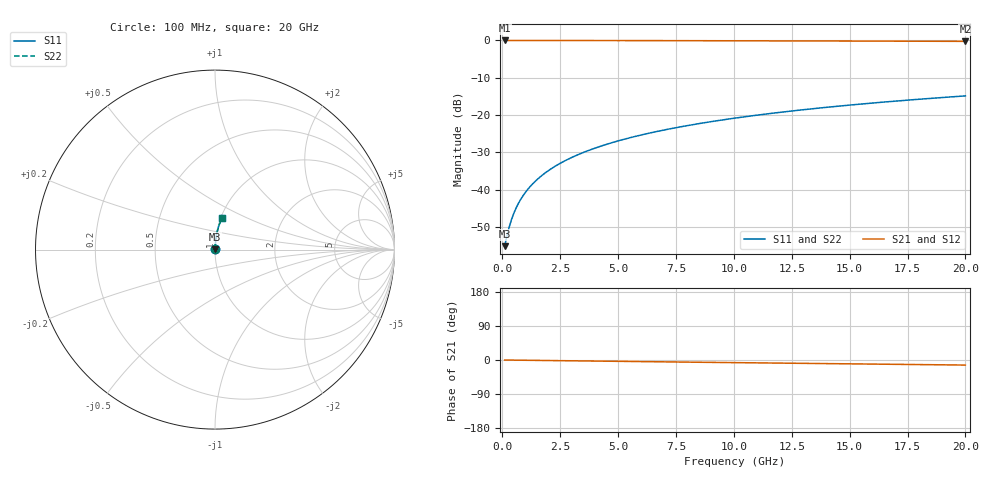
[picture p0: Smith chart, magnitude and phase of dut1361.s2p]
! Touchstone file exported from HFSS 2024.1.0
!  File:  C:/UserFiles/LocalFiles/RDL_TSV_Batchsim/temp_RDL_top_1361_1780366583.aedt
!  Generated:  10:18:41 AM Jun  2, 2026
!  Design:  RDL_top
!  Project:  temp_RDL_top_1361_1780366583
!  Setup:  Setup1
!  Solution:  Sweep
! Variables:
!  dtsv = 10.80580581um
!  hbump = 3um
!  htsv = 92.89um
!  ldown = 100um
!  lrdl = 134.94um
!  p = 40
!  p1 = 43.79um
!  rhole = 1um
!  t = 450um
!  tdown = 3.915915916um
!  trdl = 3.26um
!  wdown = 15.38538539um
!  wrdl = 11.29um
# GHz S MA R 50.000000
! Terminal data exported
! Port[1] = Box2_T1
! Port[2] = Box2_T2
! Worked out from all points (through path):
!   200 points, 100 MHz to 20 GHz, reference 50 ohm
!   highest |S21| = -0.01 dB at 100 MHz (marker M1); lowest = -0.3 dB at 20 GHz (marker M2)
!   group delay of S21, straight-line fit = 1.85 ps
!   lowest |S11| = -55.2 dB at 100 MHz (marker M3), VSWR 1.00, Z = 50.1 + j0.0927 ohm
!   |S11| at or under -10 dB: start of sweep to end of sweep
!   |S22| runs from -55.2 to -14.9 dB; largest |S21 - S12| = 3.4e-15
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0.1  0.001738 32.1  0.9985 -0.1  0.9985 -0.1  0.001738 32.1
! Gamma 0 0 0 0
! Port Impedance 50 0 50 0
0.2  0.00237 51.1  0.9985 -0.1  0.9985 -0.1  0.00237 51.1
0.3  0.003143 61.2  0.9985 -0.2  0.9985 -0.2  0.003143 61.2
0.4  0.00397 67.2  0.9985 -0.3  0.9985 -0.3  0.00397 67.2
0.5  0.00482 71.0  0.9984 -0.4  0.9984 -0.4  0.00482 71.0
0.6  0.00568 73.7  0.9984 -0.4  0.9984 -0.4  0.00568 73.7
0.8  0.007418 77.2  0.9983 -0.6  0.9983 -0.6  0.007418 77.2
1.1  0.01005 80.2  0.9982 -0.8  0.9982 -0.8  0.01005 80.2
1.5  0.01358 82.3  0.9981 -1.1  0.9981 -1.1  0.01358 82.3
1.8  0.01623 83.3  0.9979 -1.3  0.9979 -1.3  0.01623 83.3
2.1  0.0189 84.0  0.9978 -1.5  0.9978 -1.5  0.0189 84.0
2.7  0.02424 84.8  0.9975 -1.9  0.9975 -1.9  0.02424 84.8
3.5  0.03139 85.3  0.9969 -2.5  0.9969 -2.5  0.03139 85.3
4.2  0.03767 85.4  0.9963 -3.0  0.9963 -3.0  0.03767 85.4
5  0.04488 85.4  0.9955 -3.5  0.9955 -3.5  0.04487 85.4
5.9  0.05301 85.3  0.9946 -4.2  0.9946 -4.2  0.05301 85.2
6.8  0.06116 85.0  0.9935 -4.8  0.9935 -4.8  0.06116 85.0
8.3  0.0748 84.4  0.9915 -5.8  0.9915 -5.8  0.0748 84.4
10.1  0.0912 83.5  0.9888 -7.0  0.9888 -7.0  0.0912 83.5
13.4  0.1212 81.7  0.9835 -9.2  0.9835 -9.2  0.1212 81.7
16.7  0.1509 79.7  0.9776 -11.3  0.9776 -11.3  0.1509 79.7
20  0.1802 77.6  0.9713 -13.4  0.9713 -13.4  0.1802 77.6
